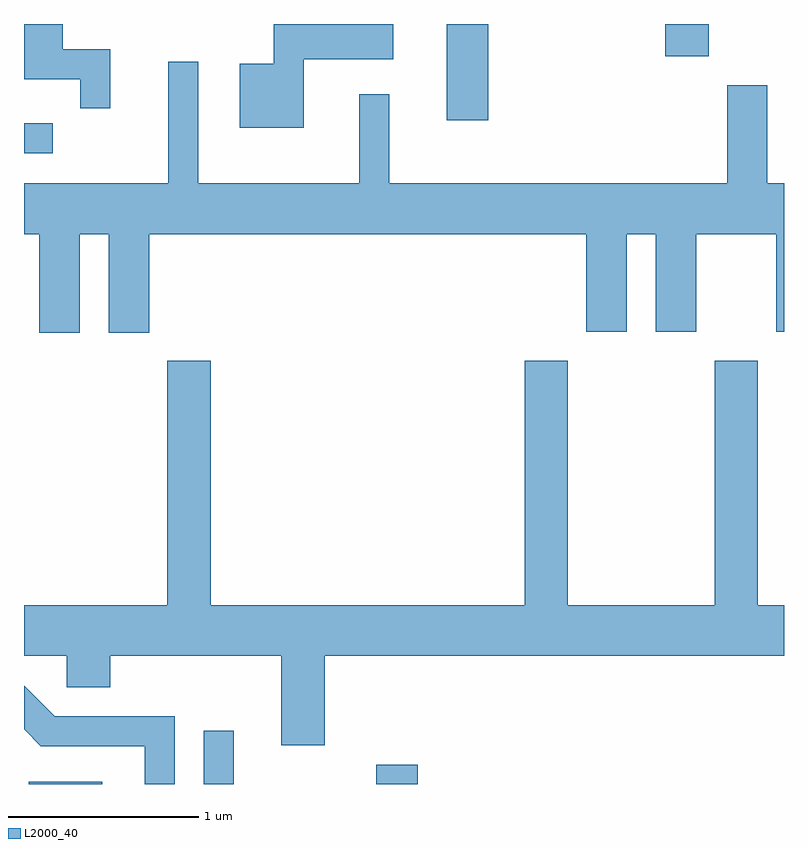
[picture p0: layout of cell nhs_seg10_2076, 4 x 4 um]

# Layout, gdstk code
import gdstk
lib = gdstk.Library(unit=1e-6, precision=1e-09)
def R(c, l, rs):  # rectangles x0, y0, x1, y1
    for r in rs: c.add(gdstk.rectangle(r[:2], r[2:], *l))
def P(c, l, *ps):  # polygons
    for p in ps: c.add(gdstk.Polygon(p, *l))
L2000_40 = (2000, 40)

nhs_seg10_2076 = lib.new_cell('nhs_seg10_2076')
R(nhs_seg10_2076, L2000_40, [(245.636,2166.522,246.024,2166.534), (246.556,2166.522,246.714,2166.803), (247.466,2166.522,247.684,2166.624), (245.611,2169.841,245.763,2169.999), (247.836,2170.016,248.054,2170.522), (248.986,2170.351,249.214,2170.522)])
P(nhs_seg10_2076, L2000_40, [(246.064,2170.389),(245.814,2170.389),(245.814,2170.522),(245.611,2170.522),(245.611,2170.231),(245.906,2170.231),(245.906,2170.078),(246.064,2170.078)],
  [(247.084,2170.336),(247.554,2170.336),(247.554,2170.522),(246.926,2170.522),(246.926,2170.314),(246.746,2170.314),(246.746,2169.976),(247.084,2169.976)],
  [(245.904,2169.416),(246.056,2169.416),(246.056,2168.896),(246.269,2168.896),(246.269,2169.416),(248.571,2169.416),(248.571,2168.901),(248.784,2168.901),(248.784,2169.416),(248.936,2169.416),(248.936,2168.901),(249.149,2168.901),(249.149,2169.416),(249.571,2169.416),(249.571,2168.901),(249.611,2168.901),(249.611,2169.684),(249.524,2169.684),(249.524,2170.199),(249.311,2170.199),(249.311,2169.684),(247.534,2169.684),(247.534,2170.153),(247.376,2170.153),(247.376,2169.684),(246.529,2169.684),(246.529,2170.323),(246.371,2170.323),(246.371,2169.684),(245.611,2169.684),(245.611,2169.416),(245.691,2169.416),(245.691,2168.896),(245.904,2168.896)],
  [(247.194,2167.196),(249.611,2167.196),(249.611,2167.464),(249.474,2167.464),(249.474,2168.749),(249.246,2168.749),(249.246,2167.464),(248.474,2167.464),(248.474,2168.749),(248.246,2168.749),(248.246,2167.464),(246.594,2167.464),(246.594,2168.749),(246.366,2168.749),(246.366,2167.464),(245.611,2167.464),(245.611,2167.196),(245.836,2167.196),(245.836,2167.031),(246.064,2167.031),(246.064,2167.196),(246.966,2167.196),(246.966,2166.726),(247.194,2166.726)],
  [(246.404,2166.879),(245.772,2166.879),(245.612,2167.039),(245.611,2167.039),(245.611,2166.809),(245.699,2166.721),(246.246,2166.721),(246.246,2166.522),(246.404,2166.522)])

lib.write_gds('nhs_seg10_2076.gds')
